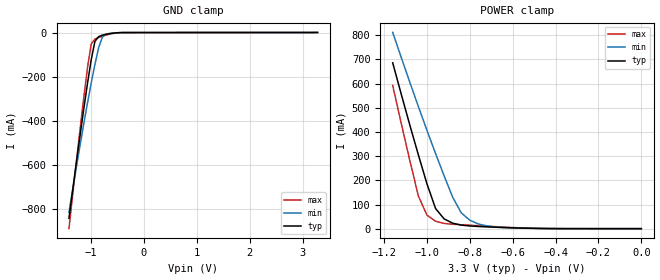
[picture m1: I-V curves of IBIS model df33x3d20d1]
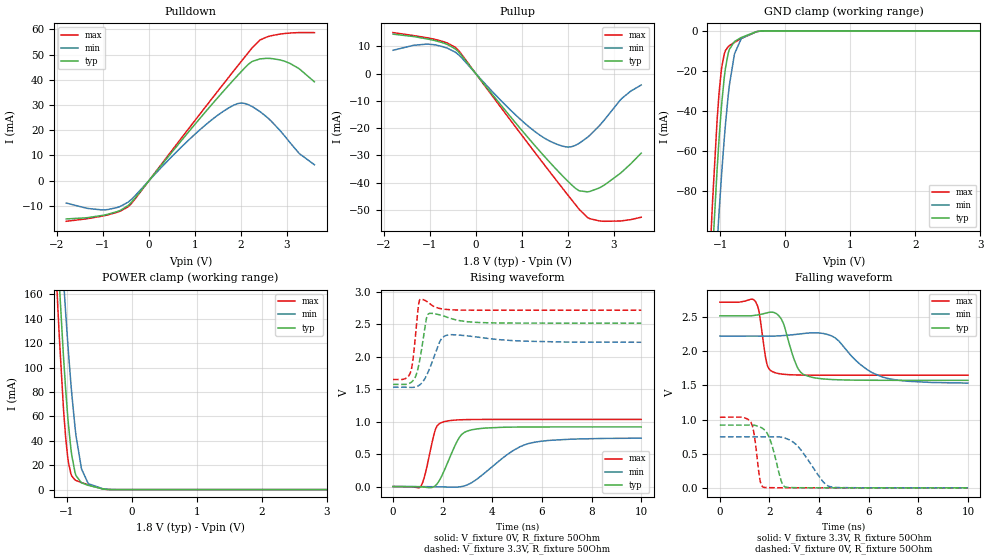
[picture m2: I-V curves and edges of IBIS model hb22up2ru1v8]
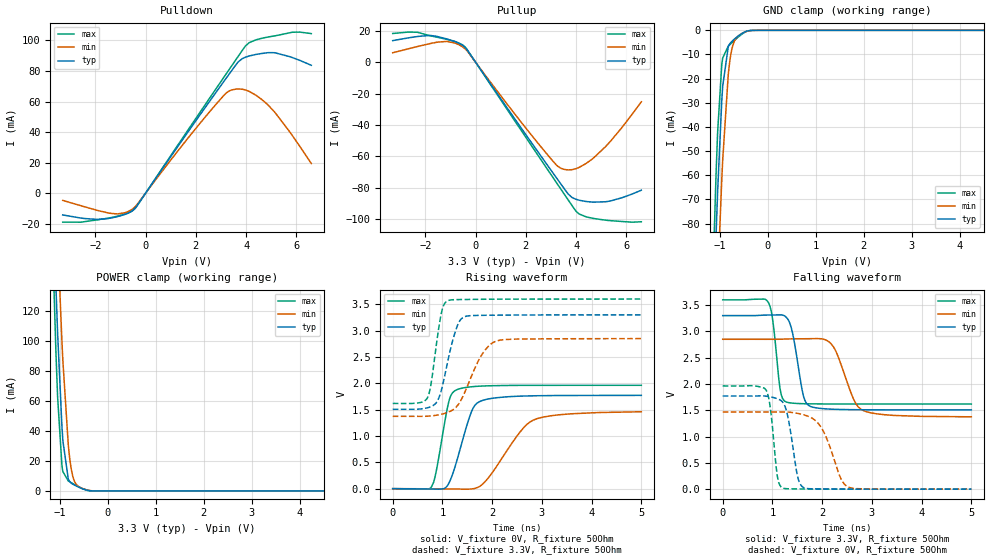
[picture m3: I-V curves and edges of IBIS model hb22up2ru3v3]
|   IBIS Models For SAM4S16_LQ64 Device By ATMEL
[IBIS Ver]   3.2
[Comment Char] |_char
[File Name]   sam4s16_lq64.ibs
[File Rev]   1.0
[Date]   Mar 07 2012
[Component]   SAM4S16_LQ64
[Manufacturer] ATMEL Corporation
[Package]
| variable   typ   min   max
R_pkg   110mOhm   20mOhm   300mOhm
L_pkg   3.80nH   1.00nH   7.49nH
C_pkg   0.500pF   0.100pF   1.300pF
[Pin] signal_name   model_name   R_pin   L_pin   C_pin
1   NC   NC
2   GND   GND
3   PB0   b3ha40bp2ruarm_cfg1
4   PB1   b3ha40bp2ruarm_cfg1
5   PB2   ha40bp2ruarm_cfg1
6   PB3   ha40bp2ruarm_cfg1
7   VDDIN   POWER
8   VDDOUT   POWER
9   PA17   ha40bp2ruarm_cfg1
10   PA18   ha40bp2ruarm_cfg1
11   PA21   ha40bp2ruarm_cfg1
12   VDDCORE   POWER
13   PA19   ha40bp2ruarm_cfg1
14   PA22   ha40bp2ruarm_cfg1
15   PA23   hb40bp2ru_cfg1
16   PA20   ha40bp2ruarm_cfg1
17   GND   GND
18   VDDIO   POWER
19   PA16   hb40bp2ru_cfg1
20   PA15   hb40bp2ru_cfg1
21   PA14   hb22up2ru_cfg1
22   PA13   ha41bp2ruarm_cfg1
23   PA24   hb40bp2ru_cfg1
24   VDDCORE   POWER
25   PA25   hb40bp2ru_cfg1
26   PA26   hb41bp2ru_cfg1
27   PA12   hb41bp2ru_cfg1
28   PA11   hb40bp2ru_cfg1
29   PA10   hb40bp2ru_cfg1
30   PA9   hb40bp2ru_cfg1
31   PA8   ha40bp2rz_cfg1
32   PA7   ha40bp2rz_cfg1
33   TDI   hb40bp2ru_cfg1
34   PA6   hb40bp2ru_cfg1
35   PA5   hb40bp2ru_cfg1
36   PA4   hb40bp2ru_cfg1
37   PA27   hb41bp2ru_cfg1
38   PA28   hb41bp2ru_cfg1
39   NRST   hb40bp2ru_cfg1
40   TEST   df33x3d20d1
41   PA29   hb22up2ru_cfg1
42   PA30   hb41bp2ru_cfg1
43   PA3   hb40bp2ru_cfg1
44   PA2   hb40bp2ru_cfg1
45   VDDIO   POWER
46   GND   GND
47   PA1   hb40bp2ru_cfg1
48   PA0   hb40bp2ru_cfg1
49   TDO   hb40bp2ru_cfg1
50   JTAGSEL   d20d1mdp33t70_cfg1
51   TMS   hb40bp2ru_cfg1
52   PA31   hb41bp2ru_cfg1
53   TCK   hb40bp2ru_cfg1
54   VDDCORE   POWER
55   ERASE   hb40bp2rd_cfg1
56   DDM   du33x3hb20br_dm
57   DDP   du33x3hb20br_dp
58   VDDIO   POWER
59   PB13   ha40bp2ruarm_cfg1
60   GND   GND
61   XOUT   ha40bp2rz_cfg1
62   XIN   ha40bp2rz_cfg1
63   PB14   ha40bp2ruarm_cfg1
64   VDDPLL   POWER
[Diff_pin]  inv_pin  vdiff  tdelay_typ  tdelay_min  tdelay_max
57   56   0.1500V   0.0s
[Model Selector] ha40bp2ruarm_cfg1
ha40bp2ruarm3v3   Model 3.3V
ha40bp2ruarm1v8   Model 1.8V
[Model Selector] ha40bp2rz_cfg1
ha40bp2rz3v3   Model 3.3V
ha40bp2rz1v8   Model 1.8V
[Model Selector] hb40bp2rd_cfg1
hb40bp2rd3v3   Model 3.3V
hb40bp2rd1v8   Model 1.8V
[Model Selector] hb40bp2ru_cfg1
hb40bp2ru3v3   Model 3.3V
hb40bp2ru1v8   Model 1.8V
[Model Selector] hb41bp2ru_cfg1
hb41bp2ru3v3   Model 3.3V
hb41bp2ru1v8   Model 1.8V
[Model Selector] d20d1mdp33t70_cfg1
d20d1mdp33t703v3   Model 3.3V
d20d1mdp33t701v8   Model 1.8V
[Model Selector] hb22up2ru_cfg1
hb22up2ru1v8   Model 1.8V
hb22up2ru3v3   Model 3.3V
[Model Selector] ha41bp2ruarm_cfg1
ha41bp2ruarm3v3   Model 3.3V
ha41bp2ruarm1v8   Model 1.8V
[Model Selector] b3ha40bp2ruarm_cfg1
b3ha40bp2ruarm3v3   Model 3.3V
b3ha40bp2ruarm1v8   Model 1.8V
| Models and submodels in the file (21): df33x3d20d1 (Input), hb22up2ru1v8 (I/O), hb22up2ru3v3 (I/O), hb40bp2ru3v3 (I/O), hb40bp2ru1v8 (I/O), hb41bp2ru3v3 (I/O), hb41bp2ru1v8 (I/O), b3ha40bp2ruarm3v3 (I/O), b3ha40bp2ruarm1v8 (I/O), ha40bp2ruarm3v3 (I/O), ha40bp2ruarm1v8 (I/O), ha40bp2rz3v3 (I/O), ha40bp2rz1v8 (I/O), hb40bp2rd3v3 (I/O), hb40bp2rd1v8 (I/O), ha41bp2ruarm3v3 (I/O), ha41bp2ruarm1v8 (I/O), du33x3hb20br_dm (I/O), du33x3hb20br_dp (I/O), d20d1mdp33t703v3 (Input), d20d1mdp33t701v8 (Input)
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[Model] df33x3d20d1
Model_type Input
Polarity   Non-Inverting
Vinl =   0.8000V
Vinh =   2.0000V
C_comp   1.613387pf   1.613387pf   1.613387pf
[Temperature Range]   25.0000   0.1250k   -40.0000
[Voltage Range]   3.3000V   2.8500V   3.6000V
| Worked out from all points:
|   GND clamp passes 1 mA (typ) near -0.50 V on its own axis
|   POWER clamp passes 1 mA (typ) near -0.47 V on its own axis
[GND_clamp]
|Voltage   I(typ)   I(min)   I(max)
-1.41V    -840.5mA   -813.3mA   -887.1mA
-1.2V     -464.1mA   -509.4mA   -436mA
-1.13V    -344.2mA   -412mA     -292.9mA
-1.06V    -229.5mA   -317.9mA   -157.8mA
-990mV    -123.1mA   -228.2mA   -51.34mA
-920mV    -39.97mA   -144.6mA   -29.44mA
-850mV    -18.59mA   -68.5mA    -22.5mA
-780mV    -11.81mA   -20.75mA   -16.62mA
-710mV    -7.85mA    -8.043mA   -11.53mA
-640mV    -4.8mA     -3.912mA   -7.237mA
-360mV    -70.45uA   -99.68uA   -67.64uA
3.28V     218.7uA    687.7uA    214.2uA
[POWER_clamp]
|Voltage   I(typ)   I(min)   I(max)
|  -1.20   0.8178A   0.9166A   0.7527A
-1.16V    685.5mA    811.2mA    591.8mA
-1.08V    427.9mA    604.7mA    281.2mA
-1.04V    304.1mA    504.1mA    134.4mA
-1V       184.9mA    405.9mA    55.87mA
-960mV    83.25mA    310.4mA    30.89mA
-920mV    40.44mA    218.2mA    21.72mA
-880mV    22.69mA    129.9mA    18.32mA
-840mV    14.91mA    65.24mA    16.49mA
-800mV    11.3mA     34.89mA    14.65mA
-720mV    7.505mA    11.38mA    10.44mA
-640mV    4.733mA    4.736mA    6.511mA
0V        220uA      194.4uA    235.1uA
[Model] hb22up2ru1v8
| config_pins "NO PIN CONFIG TO SEARCH"
Model_type   I/O
Polarity   Non-Inverting
Enable   Active-Low
Vinl = 0.4
Vinh = 1.2
Vmeas = 0.9
Vref = 1.65
Cref = 15pF
Rref = 50
|   typ   min   max
C_comp   2.366e-12   2.203e-12   2.831e-12
|C_comp (ON state)   1.684e-12   1.400e-12   2.562e-12
|C_comp (OFF state)   3.048e-12   3.006e-12   3.100e-12
[Voltage Range]   1.8   1.6   1.95
[Temperature Range]   25   125   -40
[Pullup Reference]   1.8   1.6   1.95
[Pulldown Reference]   0   0   0
[Power Clamp Reference]   1.8   1.6   1.95
[GND Clamp Reference]   0   0   0
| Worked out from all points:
|   slope of the pulldown table from 0 to 0.27 V, typ, clamps not added: 44 ohm
|   slope of the pullup table from 0 to 0.27 V, typ, clamps not added: 47 ohm
|   GND clamp passes 1 mA (typ) near -0.50 V on its own axis
|   POWER clamp passes 1 mA (typ) near -0.48 V on its own axis
|   falling waveform, V_fixture 3.3V, R_fixture 50Ohm: 20-80 % time 494ps typ, 1.28ns min, 255ps max; typ from 2.52 V to 1.57 V
|   rising waveform, V_fixture 0V, R_fixture 50Ohm: 20-80 % time 652ps typ, 1.54ns min, 364ps max; typ from 0 V to 0.919 V
|   rising waveform, V_fixture 3.3V, R_fixture 50Ohm: 20-80 % time 269ps typ, 444ps min, 183ps max; typ from 1.57 V to 2.52 V
|   falling waveform, V_fixture 0V, R_fixture 50Ohm: 20-80 % time 420ps typ, 868ps min, 218ps max; typ from 0.919 V to 0 V
[Pulldown]
|   Voltage   I(typ)   I(min)   I(max)
-1.8V     -15.19mA   -8.879mA   -16.12mA
-1.016V   -13.79mA   -11.62mA   -14.06mA
-450mV    -9.85mA    -8.486mA   -10.32mA
1.109V    24.7mA     20.2mA     26.42mA
1.624V    35.54mA    27.56mA    38.44mA
2.002V    43.13mA    30.77mA    47.14mA
2.252V    47.31mA    29.3mA     52.83mA
2.418V    48.28mA    27.33mA    55.78mA
2.664V    48.41mA    23.5mA     57.47mA
3.075V    46.42mA    14.91mA    58.54mA
3.272V    44.29mA    10.69mA    58.71mA
3.598V    39.18mA    6.313mA    58.68mA
[GND Clamp]
|   Voltage   I(typ)   I(min)   I(max)
-1.8V     -643.7mA   -626.9mA   -662.7mA
-1.141V   -123.2mA   -158.4mA   -98.57mA
-1.12V    -109.6mA   -145.6mA   -84.34mA
-1.049V   -68.14mA   -105.4mA   -43.51mA
-1.021V   -53.58mA   -90.3mA    -30.85mA
-986.9mV  -38.76mA   -73.77mA   -19.81mA
-922.5mV  -18.53mA   -46.49mA   -9.815mA
-862.2mV  -9.221mA   -27.03mA   -7.372mA
-784mV    -5.328mA   -11.51mA   -5.771mA
-678.4mV  -3.313mA   -3.779mA   -3.831mA
-338.4mV  -40.58uA   -70.47uA   -35.95uA
3.598V    0A         0A         0A
[Pullup]
|   Voltage   I(typ)   I(min)   I(max)
-1.8V     14.49mA    8.572mA    15.07mA
-1.053V   12.72mA    10.84mA    13.14mA
-616.3mV  10.69mA    9.298mA    11.21mA
-394.1mV  8.282mA    7.199mA    8.837mA
1.086V    -22.51mA   -18.53mA   -24.52mA
1.548V    -31.42mA   -24.21mA   -34.72mA
1.931V    -38.3mA    -26.79mA   -43.04mA
2.238V    -42.9mA    -25.68mA   -49.59mA
2.482V    -43.24mA   -22.62mA   -53.26mA
2.794V    -40.94mA   -17.04mA   -54.21mA
3.184V    -36mA      -8.99mA    -54.02mA
3.598V    -29.18mA   -4.173mA   -52.72mA
[POWER Clamp]
|   Voltage   I(typ)   I(min)   I(max)
-1.8V     1.014A     973.2mA    1.057A
-1.158V   212.7mA    269.6mA    171.9mA
-1.138V   190.9mA    249.8mA    148.6mA
-1.115V   168.2mA    229mA      124.9mA
-1.049V   107.4mA    170.9mA    64.67mA
-986.9mV  60.47mA    121.2mA    26.82mA
-922.5mV  27.52mA    77.63mA    10.95mA
-858.6mV  11.47mA    44.12mA    7.452mA
-774.4mV  5.561mA    16.97mA    5.707mA
-670.4mV  3.493mA    4.895mA    3.843mA
-450mV    595.4uA    749.6uA    615uA
3.598V    0A         0A         0A
[Ramp]
R_load = 50
|   typ   min   max
dV/dt_r   0.551328/6.50392e-10   0.447291/1.53084e-09   0.620778/3.63518e-10
dV/dt_f   0.566392/4.93918e-10   0.413368/1.26692e-09   0.641254/2.55302e-10
[Falling Waveform]
V_fixture = 3.3V
V_fixture_min = 2.85V
V_fixture_max = 3.6V
R_fixture = 50Ohm
C_fixture = 0F
|   Time   V(typ)   V(min)   V(max)
0s        2.518V     2.223V     2.718V
1.425ns   2.527V     2.223V     2.732V
1.575ns   2.536V     2.223V     2.587V
1.9ns     2.563V     2.223V     1.811V
2.25ns    2.556V     2.223V     1.683V
3.125ns   1.763V     2.249V     1.653V
3.45ns    1.649V     2.263V     1.651V
4.55ns    1.586V     2.217V     1.65V
6.575ns   1.575V     1.62V      1.649V
10ns      1.574V     1.534V     1.649V
[Rising Waveform]
V_fixture = 0V
V_fixture_min = 0V
V_fixture_max = 0V
R_fixture = 50Ohm
C_fixture = 0F
|   Time   V(typ)   V(min)   V(max)
0s        0V         0V         0V
1.125ns   -5.349mV   -1.564mV   6.4mV
1.3ns     -10.37mV   -2.02mV    201.7mV
1.7ns     11.62mV    -3.317mV   869.6mV
2.05ns    235.5mV    -5.968mV   998.5mV
2.675ns   758.5mV    -5.358mV   1.028V
3.175ns   874.2mV    61.31mV    1.033V
4.8ns     915.6mV    544.3mV    1.034V
5.475ns   917.6mV    663.7mV    1.034V
10ns      918.9mV    745.5mV    1.035V
[Rising Waveform]
V_fixture = 3.3V
V_fixture_min = 2.85V
V_fixture_max = 3.6V
R_fixture = 50Ohm
C_fixture = 0F
|   Time   V(typ)   V(min)   V(max)
0s        1.574V     1.53V      1.649V
700ps     1.598V     1.528V     1.755V
825ps     1.642V     1.529V     2.028V
1.025ns   1.852V     1.554V     2.791V
1.1ns     2V         1.574V     2.887V
1.4ns     2.65V      1.753V     2.842V
1.925ns   2.641V     2.262V     2.741V
2.225ns   2.603V     2.337V     2.727V
3.925ns   2.522V     2.277V     2.717V
10ns      2.518V     2.223V     2.718V
[Falling Waveform]
|Gnd
V_fixture = 0V
V_fixture_min = 0V
V_fixture_max = 0V
R_fixture = 50Ohm
C_fixture = 0F
|   Time   V(typ)   V(min)   V(max)
0s        919.2mV    747.6mV    1.035V
1.25ns    919.8mV    747.6mV    962.8mV
1.375ns   917.7mV    747.6mV    798.7mV
1.625ns   889.9mV    747.6mV    101.9mV
1.775ns   856.9mV    747.6mV    8.058mV
2.05ns    679mV      747.8mV    3.189mV
2.475ns   97.99mV    741.7mV    1.537mV
2.625ns   13.03mV    728.4mV    1.28mV
4.4ns     804.6uV    21.57mV    574.5uV
10ns      327.1uV    339.4uV    332.9uV
[Model] hb22up2ru3v3
| config_pins "NO PIN CONFIG TO SEARCH"
Model_type   I/O
Polarity   Non-Inverting
Enable   Active-Low
Vinl = 0.8
Vinh = 2.0
Vmeas = 1.65
Vref = 1.65
Cref = 15pF
Rref = 50
|   typ   min   max
C_comp   1.907e-12   1.871e-12   1.974e-12
|C_comp (ON state)   1.253e-12   1.209e-12   1.351e-12
|C_comp (OFF state)   2.562e-12   2.534e-12   2.596e-12
[Voltage Range]   3.3   2.85   3.6
[Temperature Range]   25   125   -40
[Pullup Reference]   3.3   2.85   3.6
[Pulldown Reference]   0   0   0
[Power Clamp Reference]   3.3   2.85   3.6
[GND Clamp Reference]   0   0   0
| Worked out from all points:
|   slope of the pulldown table from 0 to 0.495 V, typ, clamps not added: 41.7 ohm
|   slope of the pullup table from 0 to 0.495 V, typ, clamps not added: 42.9 ohm
|   GND clamp passes 1 mA (typ) near -0.51 V on its own axis
|   POWER clamp passes 1 mA (typ) near -0.49 V on its own axis
|   falling waveform, V_fixture 3.3V, R_fixture 50Ohm: 20-80 % time 191ps typ, 347ps min, 132ps max; typ from 3.3 V to 1.51 V
|   rising waveform, V_fixture 0V, R_fixture 50Ohm: 20-80 % time 334ps typ, 651ps min, 221ps max; typ from 0 V to 1.77 V
|   rising waveform, V_fixture 3.3V, R_fixture 50Ohm: 20-80 % time 268ps typ, 434ps min, 177ps max; typ from 1.51 V to 3.3 V
|   falling waveform, V_fixture 0V, R_fixture 50Ohm: 20-80 % time 182ps typ, 356ps min, 125ps max; typ from 1.77 V to 0.001 V
[Pulldown]
|   Voltage   I(typ)   I(min)   I(max)
-3.3V     -14.28mA   -4.722mA   -18.99mA
-1.921V   -17.22mA   -11.28mA   -17.49mA
-1.379V   -16.29mA   -13.25mA   -16mA
-531.3mV  -11.54mA   -10.52mA   -11.62mA
2.705V    63.78mA    56.33mA    66.01mA
3.181V    74.69mA    65.16mA    77.49mA
3.551V    83.09mA    68.04mA    86.39mA
3.834V    87.93mA    68.11mA    93.14mA
4.116V    89.82mA    66.7mA     98.47mA
4.885V    92.04mA    57.54mA    102.3mA
5.848V    88.76mA    37.57mA    105.4mA
6.597V    83.75mA    19.41mA    104.5mA
[GND Clamp]
|   Voltage   I(typ)   I(min)   I(max)
-3.3V     -1.96A     -1.813A    -2.077A
-1.162V   -136.8mA   -171mA     -112.9mA
-1.079V   -84.69mA   -121.8mA   -59.22mA
-1.046V   -66.39mA   -103.6mA   -41.91mA
-960mV    -28.96mA   -61.65mA   -14.07mA
-940.5mV  -23.05mA   -53.49mA   -11.42mA
-825mV    -6.735mA   -18.31mA   -6.568mA
-766.3mV  -4.91mA    -9.381mA   -5.438mA
-697.9mV  -3.637mA   -4.514mA   -4.18mA
-589.7mV  -1.962mA   -1.902mA   -2.326mA
-468.6mV  -568.6uA   -615.8uA   -676.7uA
6.597V    0A         0A         0A
[Pullup]
|   Voltage   I(typ)   I(min)   I(max)
-3.3V     13.82mA    6.062mA    18.36mA
-2.324V   16.43mA    10mA       19.16mA
-1.818V   17.14mA    11.91mA    16.96mA
-1.134V   14.81mA    13.29mA    14.61mA
-430.8mV  9.64mA     8.78mA     9.938mA
2.705V    -62.26mA   -56.01mA   -64.71mA
3.269V    -74.96mA   -66.4mA    -78.09mA
3.551V    -81.25mA   -68.51mA   -84.77mA
4.004V    -87.56mA   -67.91mA   -95.26mA
4.375V    -88.87mA   -64.87mA   -98.57mA
5.253V    -88.91mA   -52.51mA   -101mA
6.597V    -81.72mA   -25.27mA   -101.9mA
[POWER Clamp]
|   Voltage   I(typ)   I(min)   I(max)
-3.3V     3.085A     2.792A     3.329A
-1.165V   219.8mA    276.1mA    179.6mA
-1.082V   136.7mA    199.4mA    92.76mA
-1.046V   104.6mA    168.1mA    62.11mA
-956.4mV  42.7mA     99.49mA    16.74mA
-937.2mV  33.48mA    86.79mA    12.9mA
-825mV    7.926mA    30.96mA    6.683mA
-775.5mV  5.592mA    17.2mA     5.728mA
-715mV    4.249mA    8.06mA     4.628mA
-542.4mV  1.619mA    1.751mA    1.78mA
-261.6mV  4.185uA    17.96uA    2.046uA
6.597V    0A         0A         0A
[Ramp]
R_load = 50
|   typ   min   max
dV/dt_r   1.06243/3.33634e-10   0.875923/6.51387e-10   1.17732/2.20619e-10
dV/dt_f   1.07529/1.9148e-10   0.884385/3.46521e-10   1.18866/1.31836e-10
[Falling Waveform]
V_fixture = 3.3V
V_fixture_min = 2.85V
V_fixture_max = 3.6V
R_fixture = 50Ohm
C_fixture = 0F
|   Time   V(typ)   V(min)   V(max)
0s        3.3V       2.85V      3.6V
925ps     3.311V     2.85V      3.537V
1.15ns    3.314V     2.851V     1.929V
1.275ns   3.272V     2.855V     1.66V
1.4ns     2.989V     2.858V     1.636V
1.625ns   1.768V     2.86V      1.625V
1.775ns   1.57V      2.861V     1.623V
2.225ns   1.52V      2.711V     1.62V
2.825ns   1.51V      1.497V     1.619V
5ns       1.508V     1.376V     1.619V
[Rising Waveform]
V_fixture = 0V
V_fixture_min = 0V
V_fixture_max = 0V
R_fixture = 50Ohm
C_fixture = 0F
|   Time   V(typ)   V(min)   V(max)
0s        0V         0V         0V
775ps     -6.37mV    -3.531mV   24.85mV
875ps     -8.802mV   -3.865mV   329.3mV
1.125ns   94.23mV    -5.341mV   1.64V
1.3ns     564mV      -7.389mV   1.882V
1.6ns     1.495V     -3.598mV   1.936V
1.8ns     1.672V     80.11mV    1.948V
2.55ns    1.756V     1.062V     1.961V
2.825ns   1.763V     1.3V       1.961V
5ns       1.771V     1.46V      1.962V
[Rising Waveform]
V_fixture = 3.3V
V_fixture_min = 2.85V
V_fixture_max = 3.6V
R_fixture = 50Ohm
C_fixture = 0F
|   Time   V(typ)   V(min)   V(max)
0s        1.507V     1.373V     1.618V
700ps     1.536V     1.376V     1.726V
775ps     1.56V      1.381V     2.012V
975ps     1.855V     1.412V     3.317V
1.1ns     2.386V     1.446V     3.565V
1.25ns    2.954V     1.525V     3.587V
1.375ns   3.219V     1.682V     3.59V
1.775ns   3.29V      2.515V     3.595V
2.075ns   3.293V     2.798V     3.597V
5ns       3.299V     2.849V     3.599V
[Falling Waveform]
|Gnd
V_fixture = 0V
V_fixture_min = 0V
V_fixture_max = 0V
R_fixture = 50Ohm
C_fixture = 0F
|   Time   V(typ)   V(min)   V(max)
0s        1.772V     1.468V     1.963V
875ps     1.768V     1.468V     1.881V
950ps     1.757V     1.468V     1.596V
1.1ns     1.719V     1.468V     238.5mV
1.2ns     1.663V     1.469V     25.73mV
1.5ns     266mV      1.443V     5.192mV
1.625ns   31.99mV    1.415V     3.813mV
1.975ns   5.271mV    1.184V     2.244mV
2.55ns    2.212mV    32.41mV    1.523mV
5ns       906.3uV    1.021mV    916uV
